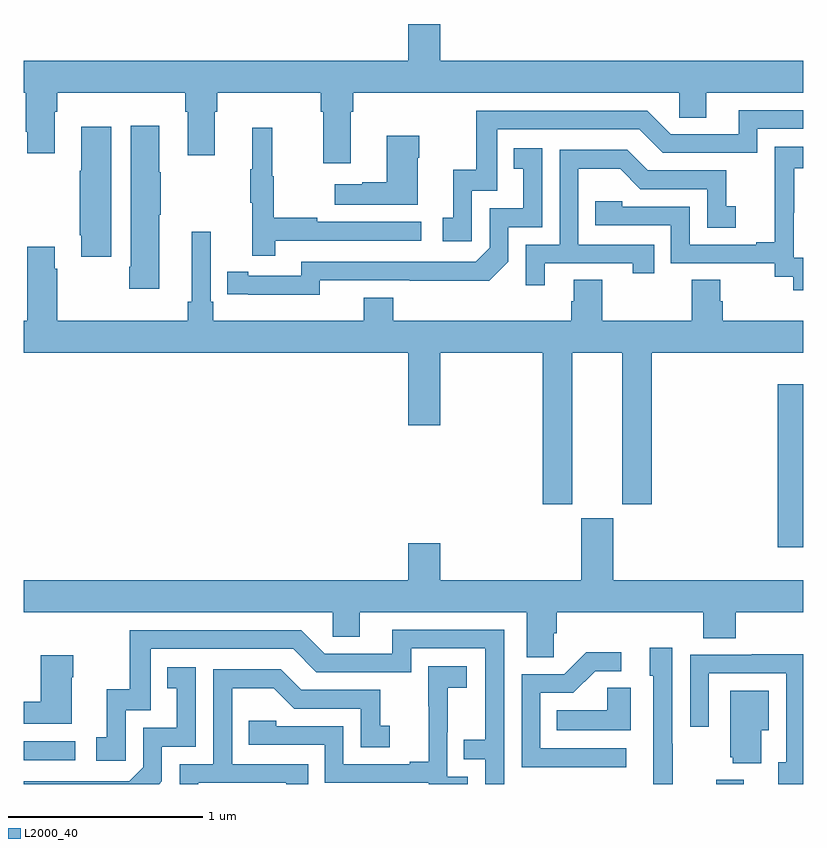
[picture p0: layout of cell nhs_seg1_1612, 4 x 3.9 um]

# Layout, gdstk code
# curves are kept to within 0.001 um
import gdstk
lib = gdstk.Library(unit=1e-6, precision=1e-09)
def R(c, l, rs):  # rectangles x0, y0, x1, y1
    for r in rs: c.add(gdstk.rectangle(r[:2], r[2:], *l))
def P(c, l, *ps):  # polygons
    for p in ps: c.add(gdstk.Polygon(p, *l))
L2000_40 = (2000, 40)

nhs_seg1_1612 = lib.new_cell('nhs_seg1_1612')
R(nhs_seg1_1612, L2000_40, [(202.553,536.199,202.693,536.221), (199,536.322,199.264,536.418), (202.868,537.414,203,538.249)])
P(nhs_seg1_1612, L2000_40, [(200.677,539.648),(200.69,539.648),(200.69,539.744),(202.362,539.744),(202.362,539.617),(202.501,539.617),(202.501,539.744),(203,539.744),(203,539.908),(201.136,539.908),(201.136,540.097),(200.972,540.097),(200.972,539.908),(199,539.908),(199,539.744),(199.012,539.744),(199.012,539.545),(199.019,539.545),(199.019,539.433),(199.159,539.433),(199.159,539.648),(199.172,539.648),(199.172,539.744),(199.829,539.744),(199.829,539.648),(199.841,539.648),(199.841,539.424),(199.981,539.424),(199.981,539.648),(199.994,539.648),(199.994,539.744),(200.525,539.744),(200.525,539.648),(200.537,539.648),(200.537,539.382),(200.677,539.382)],
  [(201.3,539.241),(201.429,539.241),(201.429,539.556),(202.158,539.556),(202.278,539.436),(202.764,539.436),(202.764,539.559),(203,539.559),(203,539.655),(202.667,539.655),(202.667,539.532),(202.32,539.532),(202.2,539.652),(201.321,539.652),(201.321,539.35),(201.203,539.35),(201.203,539.103),(201.15,539.103),(201.15,538.983),(201.3,538.983)],
  [(199.696,539.119),(199.704,539.119),(199.704,539.336),(199.696,539.336),(199.696,539.575),(199.55,539.575),(199.55,538.852),(199.543,538.852),(199.543,538.74),(199.696,538.74)],
  [(199.45,539.569),(199.295,539.569),(199.295,539.345),(199.288,539.345),(199.288,539.014),(199.295,539.014),(199.295,538.902),(199.45,538.902)],
  [(200.291,538.986),(201.04,538.986),(201.04,539.082),(200.507,539.082),(200.507,539.102),(200.284,539.102),(200.284,539.316),(200.276,539.316),(200.276,539.566),(200.174,539.566),(200.174,539.353),(200.163,539.353),(200.163,539.179),(200.174,539.179),(200.174,538.908),(200.291,538.908)],
  [(201.022,539.411),(201.03,539.411),(201.03,539.524),(200.864,539.524),(200.864,539.285),(200.738,539.285),(200.738,539.275),(200.595,539.275),(200.595,539.171),(201.022,539.171)],
  [(203,538.899),(202.95,538.899),(202.95,539.129),(202.952,539.129),(202.952,539.357),(203,539.357),(203,539.467),(202.852,539.467),(202.852,539.261),(202.853,539.261),(202.853,538.978),(202.757,538.978),(202.757,538.965),(202.416,538.965),(202.416,539.16),(202.071,539.16),(202.071,539.187),(201.931,539.187),(201.931,539.064),(202.32,539.064),(202.32,538.869),(202.854,538.869),(202.854,538.801),(202.947,538.801),(202.947,538.731),(203,538.731)],
  [(200.52,538.782),(201.388,538.781),(201.486,538.878),(201.486,539.055),(201.66,539.055),(201.66,539.461),(201.514,539.461),(201.514,539.355),(201.563,539.355),(201.563,539.151),(201.39,539.151),(201.39,538.95),(201.318,538.878),(200.424,538.878),(200.424,538.806),(200.152,538.806),(200.152,538.826),(200.044,538.826),(200.044,538.71),(200.52,538.709)],
  [(201.673,538.869),(202.124,538.869),(202.124,538.818),(202.235,538.818),(202.235,538.965),(201.846,538.965),(201.846,539.354),(202.06,539.354),(202.164,539.25),(202.506,539.25),(202.506,539.052),(202.654,539.052),(202.654,539.161),(202.605,539.161),(202.605,539.346),(202.201,539.346),(202.096,539.451),(201.75,539.451),(201.75,538.965),(201.576,538.965),(201.576,538.758),(201.673,538.758)],
  [(201.814,538.412),(202.07,538.412),(202.07,537.633),(202.223,537.633),(202.223,538.412),(203,538.412),(203,538.576),(202.586,538.576),(202.586,538.674),(202.573,538.674),(202.573,538.784),(202.426,538.784),(202.426,538.576),(201.969,538.576),(201.969,538.784),(201.821,538.784),(201.821,538.674),(201.809,538.674),(201.809,538.576),(200.897,538.576),(200.897,538.693),(200.744,538.693),(200.744,538.576),(199.973,538.576),(199.973,538.672),(199.959,538.672),(199.959,539.032),(199.862,539.032),(199.862,538.672),(199.843,538.672),(199.843,538.576),(199.172,538.576),(199.172,538.841),(199.159,538.841),(199.159,538.954),(199.019,538.954),(199.019,538.576),(199,538.576),(199,538.412),(200.972,538.412),(200.972,538.038),(201.136,538.038),(201.136,538.412),(201.662,538.412),(201.662,537.633),(201.814,537.633)],
  [(202.487,536.947),(202.652,536.947),(202.652,537.08),(203,537.08),(203,537.244),(202.024,537.244),(202.024,537.561),(201.86,537.561),(201.86,537.244),(201.136,537.244),(201.136,537.433),(200.972,537.433),(200.972,537.244),(199,537.244),(199,537.08),(200.586,537.08),(200.586,536.953),(200.725,536.953),(200.725,537.08),(201.581,537.08),(201.581,536.848),(201.72,536.848),(201.72,536.971),(201.734,536.971),(201.734,537.08),(202.487,537.08)],
  [(201.465,536.991),(200.891,536.991),(200.891,536.868),(200.544,536.868),(200.424,536.988),(199.545,536.988),(199.545,536.686),(199.427,536.686),(199.427,536.439),(199.374,536.439),(199.374,536.319),(199.524,536.319),(199.524,536.577),(199.653,536.577),(199.653,536.892),(200.382,536.892),(200.502,536.772),(200.988,536.772),(200.988,536.895),(201.369,536.895),(201.369,536.426),(201.259,536.426),(201.259,536.325),(201.369,536.325),(201.369,536.199),(201.465,536.199)],
  [(202.329,536.405),(202.326,536.405),(202.326,536.899),(202.211,536.899),(202.211,536.754),(202.23,536.754),(202.23,536.199),(202.329,536.199)],
  [(202.09,536.382),(201.651,536.382),(201.651,536.667),(201.82,536.667),(201.931,536.778),(202.066,536.778),(202.066,536.876),(201.887,536.876),(201.774,536.763),(201.555,536.763),(201.555,536.286),(202.09,536.286)],
  [(203,536.864),(202.735,536.864),(202.735,536.862),(202.419,536.862),(202.419,536.493),(202.515,536.493),(202.515,536.766),(202.911,536.766),(202.911,536.31),(202.871,536.31),(202.871,536.199),(203,536.199)],
  [(199.246,536.747),(199.254,536.747),(199.254,536.86),(199.088,536.86),(199.088,536.621),(199,536.621),(199,536.507),(199.246,536.507)],
  [(201.279,536.235),(201.174,536.235),(201.174,536.465),(201.176,536.465),(201.176,536.693),(201.274,536.693),(201.274,536.803),(201.076,536.803),(201.076,536.597),(201.077,536.597),(201.077,536.314),(200.981,536.314),(200.981,536.301),(200.64,536.301),(200.64,536.496),(200.295,536.496),(200.295,536.523),(200.155,536.523),(200.155,536.4),(200.544,536.4),(200.544,536.205),(201.078,536.205),(201.078,536.199),(201.279,536.199)],
  [(199.71,536.214),(199.71,536.391),(199.884,536.391),(199.884,536.797),(199.738,536.797),(199.738,536.691),(199.787,536.691),(199.787,536.487),(199.614,536.487),(199.614,536.286),(199.542,536.214),(199,536.214),(199,536.199),(199.695,536.199)],
  [(199.897,536.205),(200.348,536.205),(200.348,536.199),(200.459,536.199),(200.459,536.301),(200.07,536.301),(200.07,536.69),(200.284,536.69),(200.388,536.586),(200.73,536.586),(200.73,536.388),(200.878,536.388),(200.878,536.497),(200.829,536.497),(200.829,536.682),(200.425,536.682),(200.32,536.787),(199.974,536.787),(199.974,536.301),(199.8,536.301),(199.8,536.199),(199.897,536.199)],
  [(202.114,536.693),(201.993,536.693),(201.993,536.578),(201.736,536.578),(201.736,536.474),(202.114,536.474)],
  [(202.783,536.474),(202.822,536.474),(202.822,536.677),(202.625,536.677),(202.625,536.337),(202.637,536.337),(202.637,536.306),(202.783,536.306)])

lib.write_gds('nhs_seg1_1612.gds')
